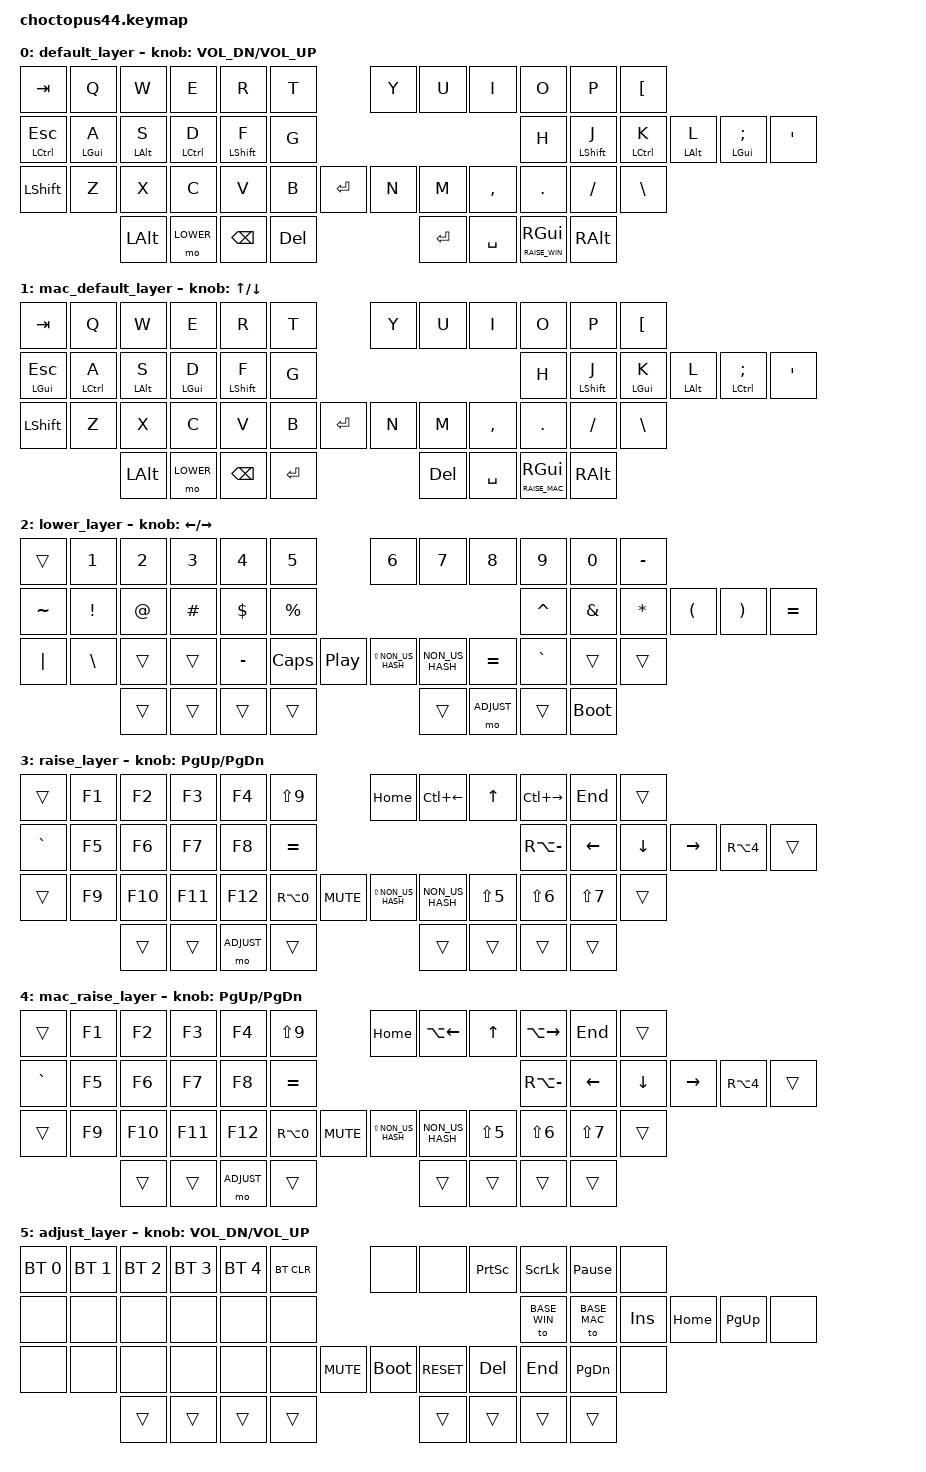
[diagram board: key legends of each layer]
/*
 * Copyright (c) 2021 The ZMK Contributors
 *
 * SPDX-License-Identifier: MIT
 */

#include <behaviors.dtsi>
#include <dt-bindings/zmk/keys.h>
#include <dt-bindings/zmk/bt.h>
#include <dt-bindings/zmk/rgb.h>

#define BASE_WIN 0
#define BASE_MAC 1
#define LOWER 2
#define RAISE_WIN 3
#define RAISE_MAC 4
#define ADJUST 5

&mt {
    tapping-term-ms = <400>;
};

/ {
  keymap {
    compatible = "zmk,keymap";


    default_layer {
      bindings = <
        &kp TAB     &kp Q     &kp W       &kp E     &kp R    &kp T                &kp Y     &kp U     &kp I      &kp O    &kp P     &kp LBKT
        &mt LCTRL ESC     &mt LGUI A     &mt LALT S  &mt LCTRL D  &mt LSHIFT F    &kp G                &kp H     &mt LSHFT J     &mt LCTRL K  &mt LALT L  &mt LGUI SEMI  &kp SQT
        &kp LSHFT   &kp Z     &kp X       &kp C     &kp V    &kp B      &kp RET   &kp N     &kp M     &kp COMMA  &kp DOT  &kp FSLH  &kp BSLH
                              &kp LALT   &mo LOWER  &kp BSPC &kp DEL               &kp RET  &kp SPACE   &lt RAISE_WIN RGUI   &kp RALT
      >;
      sensor-bindings = <&inc_dec_kp C_VOL_DN C_VOL_UP>;
    };

    mac_default_layer {
      bindings = <
        &kp TAB     &kp Q     &kp W       &kp E     &kp R    &kp T                &kp Y     &kp U     &kp I      &kp O    &kp P     &kp LBKT
        &mt LGUI ESC     &mt LCTRL A     &mt LALT S  &mt LGUI D  &mt LSHIFT F    &kp G                &kp H     &mt LSHFT J     &mt LGUI K  &mt LALT L  &mt LCTRL SEMI  &kp SQT
        &kp LSHFT   &kp Z     &kp X       &kp C     &kp V    &kp B      &kp RET   &kp N     &kp M     &kp COMMA  &kp DOT  &kp FSLH  &kp BSLH
                              &kp LALT   &mo LOWER  &kp BSPC    &kp RET               &kp DEL  &kp SPACE   &lt RAISE_MAC RGUI   &kp RALT
      >;
      sensor-bindings = <&inc_dec_kp UP DOWN>;
    };

    lower_layer {
      bindings = <
        &trans    &kp N1    &kp N2  &kp N3   &kp N4   &kp N5                          &kp N6              &kp N7            &kp N8      &kp N9      &kp N0    &kp MINUS
        &kp TILDE &kp EXCL  &kp AT  &kp HASH &kp DLLR &kp PRCNT                       &kp CARET           &kp AMPS          &kp STAR    &kp LPAR    &kp RPAR  &kp EQUAL
        &kp PIPE  &kp BSLH    &trans  &trans  &kp MINUS   &kp CAPS    &kp C_PLAY_PAUSE  &kp LS(NON_US_HASH) &kp NON_US_HASH   &kp EQUAL   &kp GRAVE   &trans    &trans
                            &trans  &trans   &trans   &trans                          &trans              &mo ADJUST        &trans      &bootloader
      >;
      sensor-bindings = <&inc_dec_kp LEFT RIGHT>;
    };

    raise_layer {
      bindings = <
        &trans      &kp F1            &kp F2                &kp F3                &kp F4      &kp LS(N9)                &kp HOME              &kp LC(LEFT)      &kp UP    &kp LC(RIGHT)    &kp END &trans
        &kp GRAVE   &kp F5            &kp F6                &kp F7                &kp F8      &kp EQUAL                 &kp RA(MINUS)         &kp LEFT          &kp DOWN  &kp RIGHT   &kp RA(N4)  &trans
        &trans      &kp F9            &kp F10               &kp F11               &kp F12     &kp RA(N0)   &kp C_MUTE   &kp LS(NON_US_HASH)   &kp NON_US_HASH   &kp LS(N5)  &kp LS(N6)  &kp LS(N7)      &trans
                                      &trans                &trans                &mo ADJUST  &trans                    &trans                &trans            &trans      &trans
      >;
      sensor-bindings = <&inc_dec_kp PG_UP PG_DN>;
    };

    mac_raise_layer {
      bindings = <
        &trans      &kp F1            &kp F2                &kp F3                &kp F4      &kp LS(N9)                &kp HOME              &kp LA(LEFT)      &kp UP    &kp LA(RIGHT)    &kp END &trans
        &kp GRAVE   &kp F5            &kp F6                &kp F7                &kp F8      &kp EQUAL                 &kp RA(MINUS)         &kp LEFT    &kp DOWN   &kp RIGHT   &kp RA(N4) &trans
        &trans      &kp F9            &kp F10               &kp F11               &kp F12     &kp RA(N0)   &kp C_MUTE   &kp LS(NON_US_HASH)   &kp NON_US_HASH   &kp LS(N5)  &kp LS(N6)  &kp LS(N7)      &trans
                                      &trans                &trans                &mo ADJUST  &trans                    &trans                &trans            &trans      &trans
      >;
      sensor-bindings = <&inc_dec_kp PG_UP PG_DN>;
    };

    adjust_layer {
      bindings = <
        &bt BT_SEL 0  &bt BT_SEL 1    &bt BT_SEL 2    &bt BT_SEL 3    &bt BT_SEL 4    &bt BT_CLR                &none         &none         &kp PSCRN     &kp SLCK    &kp PAUSE_BREAK   &none
        &none         &none           &none           &none           &none           &none                     &to BASE_WIN  &to BASE_MAC  &kp INSERT    &kp HOME    &kp PG_UP         &none
        &none         &none           &none           &none           &none           &none       &kp C_MUTE    &bootloader   &kp C_RESET   &kp DEL       &kp END     &kp PG_DN         &none
                                      &trans          &trans          &trans          &trans                    &trans        &trans        &trans        &trans
      >;
      sensor-bindings = <&inc_dec_kp C_VOL_DN C_VOL_UP>;
    };

  };
};
